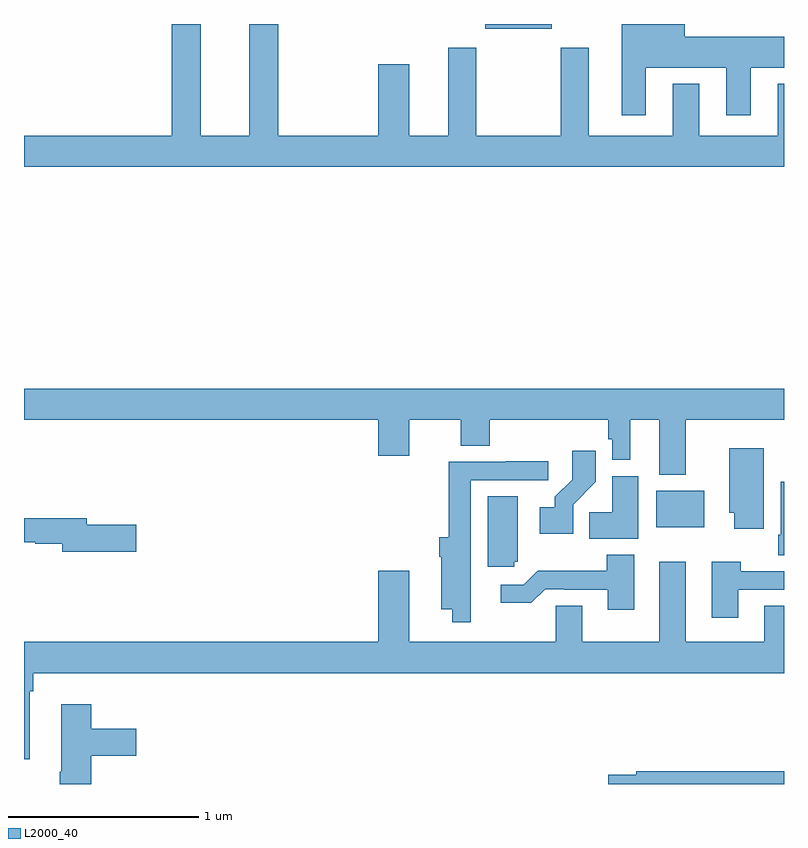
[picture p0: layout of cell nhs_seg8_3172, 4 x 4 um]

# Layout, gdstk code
import gdstk
lib = gdstk.Library(unit=1e-6, precision=1e-09)
def R(c, l, rs):  # rectangles x0, y0, x1, y1
    for r in rs: c.add(gdstk.rectangle(r[:2], r[2:], *l))
def P(c, l, *ps):  # polygons
    for p in ps: c.add(gdstk.Polygon(p, *l))
L2000_40 = (2000, 40)

nhs_seg8_3172 = lib.new_cell('nhs_seg8_3172')
R(nhs_seg8_3172, L2000_40, [(310.328,1133.252,310.579,1133.443), (309.428,1135.874,309.778,1135.9)])
P(nhs_seg8_3172, L2000_40, [(311,1135.585),(310.967,1135.585),(310.967,1135.312),(310.555,1135.312),(310.555,1135.585),(310.415,1135.585),(310.415,1135.312),(309.973,1135.312),(309.973,1135.774),(309.826,1135.774),(309.826,1135.312),(309.381,1135.312),(309.381,1135.774),(309.233,1135.774),(309.233,1135.312),(309.028,1135.312),(309.028,1135.687),(308.864,1135.687),(308.864,1135.312),(308.339,1135.312),(308.339,1135.9),(308.186,1135.9),(308.186,1135.312),(307.93,1135.312),(307.93,1135.9),(307.778,1135.9),(307.778,1135.312),(307,1135.312),(307,1135.148),(311,1135.148)],
  [(310.273,1135.67),(310.697,1135.67),(310.697,1135.419),(310.825,1135.419),(310.825,1135.67),(311,1135.67),(311,1135.834),(310.477,1135.834),(310.477,1135.9),(310.145,1135.9),(310.145,1135.419),(310.273,1135.419)],
  [(310.483,1133.816),(311,1133.816),(311,1133.98),(307,1133.98),(307,1133.816),(308.864,1133.816),(308.864,1133.628),(309.028,1133.628),(309.028,1133.816),(309.299,1133.816),(309.299,1133.68),(309.452,1133.68),(309.452,1133.816),(310.075,1133.816),(310.075,1133.715),(310.095,1133.715),(310.095,1133.606),(310.192,1133.606),(310.192,1133.816),(310.343,1133.816),(310.343,1133.528),(310.483,1133.528)],
  [(310.894,1133.668),(310.712,1133.668),(310.712,1133.328),(310.739,1133.328),(310.739,1133.244),(310.894,1133.244)],
  [(309.891,1133.371),(310.01,1133.49),(310.01,1133.653),(309.885,1133.653),(309.885,1133.501),(309.794,1133.411),(309.794,1133.356),(309.714,1133.356),(309.714,1133.216),(309.891,1133.216)],
  [(309.351,1133.499),(309.76,1133.499),(309.76,1133.598),(309.535,1133.598),(309.535,1133.595),(309.235,1133.595),(309.235,1133.2),(309.185,1133.2),(309.185,1133.096),(309.197,1133.096),(309.197,1132.82),(309.253,1132.82),(309.253,1132.752),(309.351,1132.752)],
  [(310.234,1133.521),(310.097,1133.521),(310.097,1133.33),(309.976,1133.33),(309.976,1133.192),(310.234,1133.192)],
  [(311,1133.491),(310.982,1133.491),(310.982,1133.212),(310.97,1133.212),(310.97,1133.104),(311,1133.104)],
  [(309.579,1133.07),(309.598,1133.07),(309.598,1133.414),(309.44,1133.414),(309.44,1133.043),(309.579,1133.043)],
  [(307.591,1133.264),(307.33,1133.264),(307.33,1133.3),(307,1133.3),(307,1133.172),(307.059,1133.172),(307.059,1133.164),(307.202,1133.164),(307.202,1133.122),(307.591,1133.122)],
  [(310.213,1133.107),(310.066,1133.107),(310.066,1133.023),(309.703,1133.023),(309.63,1132.95),(309.51,1132.95),(309.51,1132.853),(309.671,1132.853),(309.744,1132.926),(309.844,1132.926),(309.844,1132.923),(310.073,1132.923),(310.073,1132.818),(310.213,1132.818)],
  [(307.03,1132.388),(307.049,1132.388),(307.049,1132.484),(311,1132.484),(311,1132.838),(310.895,1132.838),(310.895,1132.648),(310.483,1132.648),(310.483,1133.071),(310.343,1133.071),(310.343,1132.648),(309.937,1132.648),(309.937,1132.838),(309.798,1132.838),(309.798,1132.648),(309.028,1132.648),(309.028,1133.023),(308.864,1133.023),(308.864,1132.648),(307,1132.648),(307,1132.029),(307.03,1132.029)],
  [(310.759,1132.923),(311,1132.923),(311,1133.019),(310.772,1133.019),(310.772,1133.071),(310.619,1133.071),(310.619,1132.776),(310.759,1132.776)],
  [(307.355,1132.049),(307.591,1132.049),(307.591,1132.191),(307.355,1132.191),(307.355,1132.321),(307.196,1132.321),(307.196,1131.965),(307.189,1131.965),(307.189,1131.9),(307.355,1131.9)],
  [(311,1131.968),(310.222,1131.968),(310.222,1131.948),(310.076,1131.948),(310.076,1131.9),(311,1131.9)])

lib.write_gds('nhs_seg8_3172.gds')
